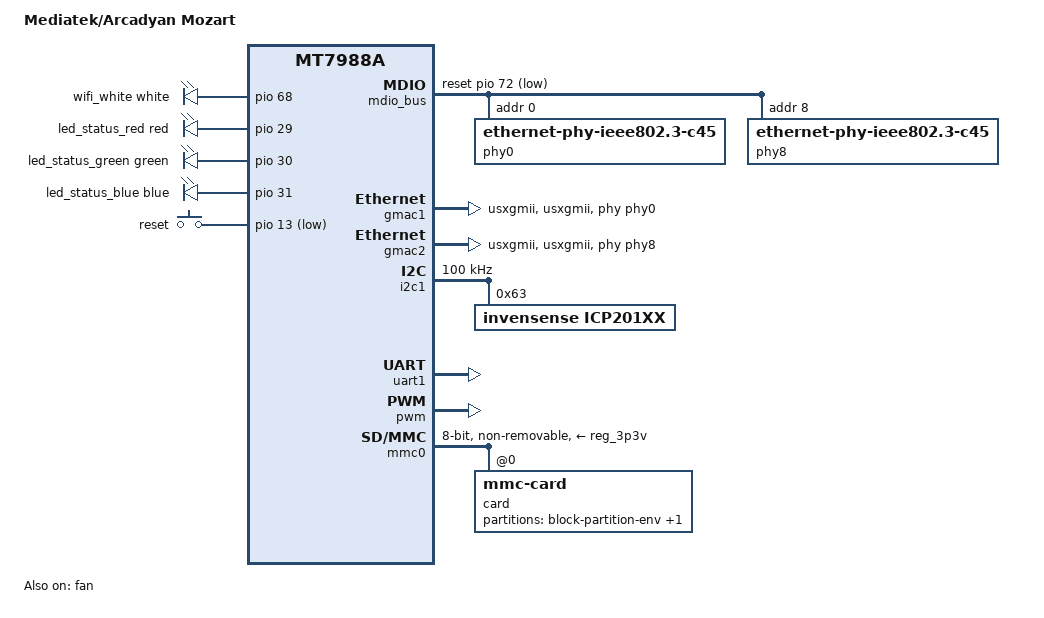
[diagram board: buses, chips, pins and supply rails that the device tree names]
// SPDX-License-Identifier: (GPL-2.0 OR MIT)
/*
 * Copyright (C) 2022 MediaTek Inc.
 * Author: Sam.Shih <sam.shih@mediatek.com>
 */

/dts-v1/;
#include "mt7988a-rfb.dts"
#include <dt-bindings/input/input.h>
#include <dt-bindings/gpio/gpio.h>
#include <dt-bindings/leds/common.h>

/ {
	compatible = "arcadyan,mozart", "mediatek,mt7988a";
	model = "Mediatek/Arcadyan Mozart";

	aliases {
		serial0 = &uart0;
		led-boot = &led_status_blue;
		led-failsafe = &led_status_red;
		led-running = &led_status_green;
		led-upgrade = &led_status_green;
	};

	chosen {
		rootdisk = <&emmc_rootfs>;
	};

	gpio-leds {
		compatible = "gpio-leds";

		wifi_white {
			color = <LED_COLOR_ID_WHITE>;
			function = LED_FUNCTION_STATUS;
			gpios = <&pio 68 GPIO_ACTIVE_HIGH>;
		};

		led_status_red: wifi_red {
			color = <LED_COLOR_ID_RED>;
			function = LED_FUNCTION_STATUS;
			gpios = <&pio 29 GPIO_ACTIVE_HIGH>;
		};

		led_status_green: wifi_green {
			color = <LED_COLOR_ID_GREEN>;
			function = LED_FUNCTION_STATUS;
			gpios = <&pio 30 GPIO_ACTIVE_HIGH>;
		};
		
		led_status_blue: wifi_blue {
			color = <LED_COLOR_ID_BLUE>;
			function = LED_FUNCTION_STATUS;
			gpios = <&pio 31 GPIO_ACTIVE_HIGH>;
		};
	};

	keys {
		compatible = "gpio-keys";

		button-reset {
			label = "reset";
			linux,code = <KEY_RESTART>;
			gpios = <&pio 13 GPIO_ACTIVE_LOW>;
		};
	};
};

&pio {
	mdio0_pins: mdio0-pins {
		mux {
			function = "eth";
			groups = "mdc_mdio0";
		};

		conf {
			groups = "mdc_mdio0";
			drive-strength = <MTK_DRIVE_10mA>;
		};
	};

	spic_pins: spi1-pins {
		mux {
			function = "spi";
			groups = "spi1";
		};
	};
};

&usxgmiisys0 {
	mediatek,pn_swap_rx;
};

&usxgmiisys1 {
	mediatek,pn_swap_rx;
};

&mdio_bus {
	#address-cells = <1>;
	#size-cells = <0>;
	reset-gpios = <&pio 72 1>;
	reset-delay-us = <40000>;

	/* external Realtek RTL8261N */
	phy0: ethernet-phy@0 {
		reg = <0>;
		compatible = "ethernet-phy-ieee802.3-c45";
	};

	phy8: ethernet-phy@8 {
		reg = <8>;
		compatible = "ethernet-phy-ieee802.3-c45";
	};
};

&gmac1 {
	phy-mode = "usxgmii";
	phy-connection-type = "usxgmii";
	phy = <&phy0>;
	status = "okay";
};

&gmac2 {
	phy-mode = "usxgmii";
	phy-connection-type = "usxgmii";
	phy = <&phy8>;
	status = "okay";
};

&i2c1 {
	pinctrl-names = "default";
	pinctrl-0 = <&i2c1_pins>;
	clock-frequency = <100000>;
	status = "okay";

	icp201xx@63{
		compatible = "invensense,icp201xx";
		reg = <0x63>;
		#address-cells = <1>;
		#size-cells = <0>;
	};
};

&uart1 {
	status = "okay";
};

&fan {
	pwms = <&pwm 1 40000 0>;
	status = "okay";
};

&pwm {
	status = "okay";
};

&spi1 {
	status = "disabled";
};

&mmc0 {
	pinctrl-names = "default", "state_uhs";
	pinctrl-0 = <&mmc0_pins_emmc_51>;
	pinctrl-1 = <&mmc0_pins_emmc_51>;
	bus-width = <8>;
	max-frequency = <200000000>;
	cap-mmc-highspeed;
	mmc-hs200-1_8v;
	mmc-hs400-1_8v;
	hs400-ds-delay = <0x12814>;
	vqmmc-supply = <&reg_1p8v>;
	vmmc-supply = <&reg_3p3v>;
	non-removable;
	no-sd;
	no-sdio;
	status = "okay";

	card@0 {
		compatible = "mmc-card";
		reg = <0>;

		block {
			compatible = "block-device";
			partitions {
				block-partition-env {
					partname = "u-boot-env";
					nvmem-layout {
						compatible = "u-boot,env-layout";
					};
				};

				emmc_rootfs: block-partition-production {
					partname = "production";
				};
			};
		};
	};
};

&switch {
	/delete-node/ports;

	ports {
		#address-cells = <1>;
		#size-cells = <0>;

		gsw_port0: port@0 {
			reg = <0>;
			label = "lan0";
			phy-mode = "internal";
			phy-handle = <&gsw_phy0>;
		};

		port@6 {
			reg = <6>;
			ethernet = <&gmac0>;
			phy-mode = "internal";

			fixed-link {
				speed = <10000>;
				full-duplex;
				pause;
			};
		};
	};
};
